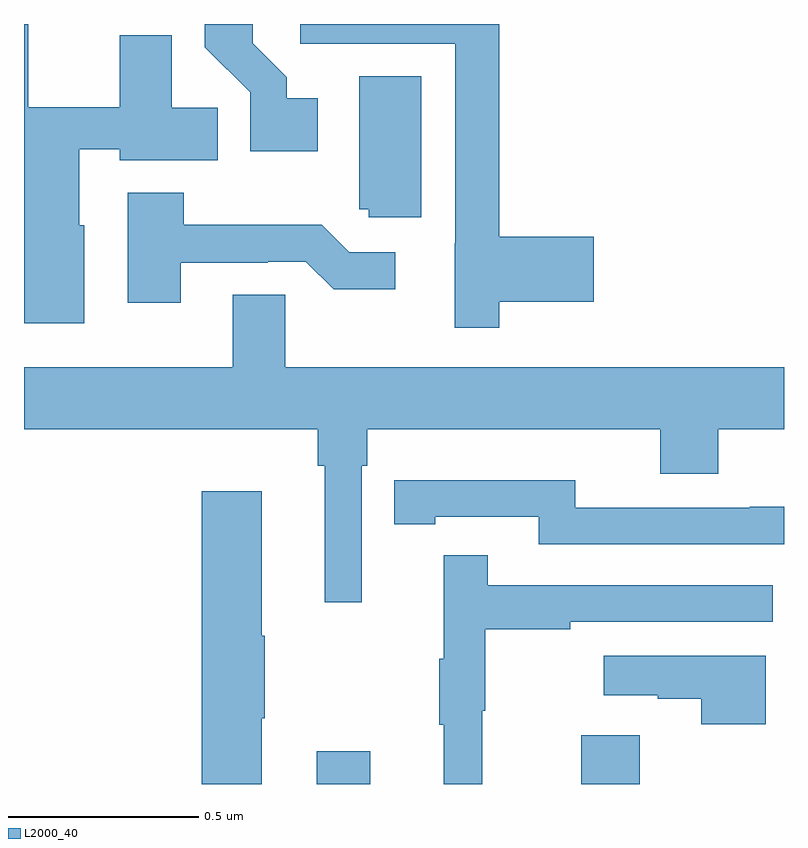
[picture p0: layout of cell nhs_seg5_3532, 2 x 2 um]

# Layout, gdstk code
import gdstk
lib = gdstk.Library(unit=1e-6, precision=1e-09)
def R(c, l, rs):  # rectangles x0, y0, x1, y1
    for r in rs: c.add(gdstk.rectangle(r[:2], r[2:], *l))
def P(c, l, *ps):  # polygons
    for p in ps: c.add(gdstk.Polygon(p, *l))
L2000_40 = (2000, 40)

nhs_seg5_3532 = lib.new_cell('nhs_seg5_3532')
R(nhs_seg5_3532, L2000_40, [(158.771,883.799,158.911,883.885), (159.467,883.799,159.62,883.927)])
P(nhs_seg5_3532, L2000_40, [(159.251,885.068),(159.499,885.068),(159.499,885.239),(159.251,885.239),(159.251,885.799),(158.727,885.799),(158.727,885.747),(159.135,885.747),(159.135,885.222),(159.134,885.222),(159.134,885),(159.251,885)],
  [(158.773,885.604),(158.692,885.604),(158.692,885.659),(158.602,885.749),(158.602,885.799),(158.476,885.799),(158.476,885.738),(158.595,885.619),(158.595,885.464),(158.773,885.464)],
  [(158.158,885.27),(158.146,885.27),(158.146,885.47),(158.252,885.47),(158.252,885.44),(158.51,885.44),(158.51,885.578),(158.389,885.578),(158.389,885.769),(158.252,885.769),(158.252,885.58),(158.011,885.58),(158.011,885.799),(158,885.799),(158,885.011),(158.158,885.011)],
  [(159.046,885.661),(158.882,885.661),(158.882,885.312),(158.907,885.312),(158.907,885.291),(159.046,885.291)],
  [(158.413,885.171),(158.642,885.171),(158.642,885.174),(158.742,885.174),(158.815,885.101),(158.977,885.101),(158.977,885.198),(158.856,885.198),(158.783,885.271),(158.421,885.271),(158.421,885.355),(158.273,885.355),(158.273,885.066),(158.413,885.066)],
  [(158.889,884.636),(158.903,884.636),(158.903,884.732),(159.674,884.732),(159.674,884.615),(159.827,884.615),(159.827,884.732),(160,884.732),(160,884.896),(158.688,884.896),(158.688,885.086),(158.549,885.086),(158.549,884.896),(158,884.896),(158,884.732),(158.773,884.732),(158.773,884.636),(158.792,884.636),(158.792,884.277),(158.889,884.277)],
  [(160,884.528),(159.91,884.528),(159.91,884.526),(159.45,884.526),(159.45,884.599),(159.082,884.599),(159.082,884.598),(158.974,884.598),(158.974,884.482),(159.082,884.482),(159.082,884.502),(159.354,884.502),(159.354,884.43),(160,884.43)],
  [(158.626,883.972),(158.634,883.972),(158.634,884.189),(158.626,884.189),(158.626,884.569),(158.468,884.569),(158.468,883.799),(158.626,883.799)],
  [(159.206,883.992),(159.214,883.992),(159.214,884.206),(159.437,884.206),(159.437,884.226),(159.97,884.226),(159.97,884.322),(159.221,884.322),(159.221,884.401),(159.104,884.401),(159.104,884.129),(159.093,884.129),(159.093,883.955),(159.104,883.955),(159.104,883.799),(159.206,883.799)],
  [(159.952,884.137),(159.525,884.137),(159.525,884.033),(159.668,884.033),(159.668,884.023),(159.782,884.023),(159.782,883.956),(159.952,883.956)])

lib.write_gds('nhs_seg5_3532.gds')
